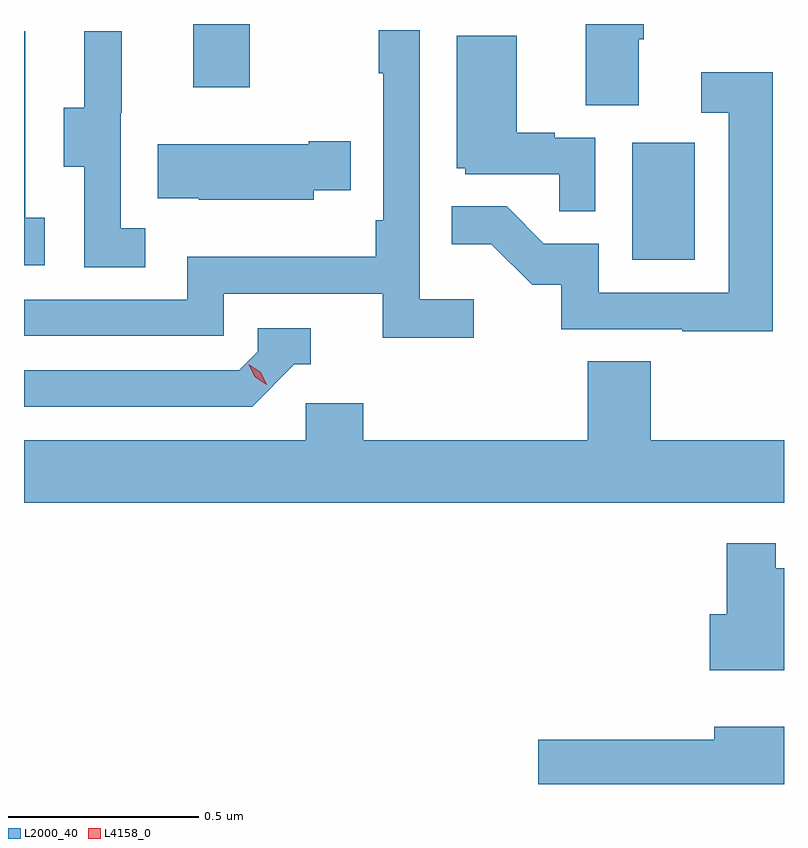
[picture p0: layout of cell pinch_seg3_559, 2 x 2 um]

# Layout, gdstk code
import gdstk
lib = gdstk.Library(unit=1e-6, precision=1e-09)
def R(c, l, rs):  # rectangles x0, y0, x1, y1
    for r in rs: c.add(gdstk.rectangle(r[:2], r[2:], *l))
def P(c, l, *ps):  # polygons
    for p in ps: c.add(gdstk.Polygon(p, *l))
L2000_40 = (2000, 40)
L4158_0 = (4158, 0)

pinch_seg3_559 = lib.new_cell('pinch_seg3_559')
R(pinch_seg3_559, L2000_40, [(1086.884,701.556,1087.048,701.863), (1085.729,702.009,1085.877,702.176)])
P(pinch_seg3_559, L2000_40, [(1086.901,702.136),(1086.914,702.136),(1086.914,702.176),(1086.761,702.176),(1086.761,701.962),(1086.901,701.962)],
  [(1086.466,701.452),(1086.324,701.452),(1086.324,702.16),(1086.216,702.16),(1086.216,702.047),(1086.228,702.047),(1086.228,701.659),(1086.208,701.659),(1086.208,701.563),(1085.712,701.563),(1085.712,701.451),(1085.283,701.451),(1085.283,701.355),(1085.808,701.355),(1085.808,701.466),(1086.227,701.466),(1086.227,701.35),(1086.466,701.35)],
  [(1085.602,701.639),(1085.538,701.639),(1085.538,701.943),(1085.54,701.943),(1085.54,702.157),(1085.441,702.157),(1085.441,701.955),(1085.387,701.955),(1085.387,701.8),(1085.442,701.8),(1085.442,701.536),(1085.602,701.536)],
  [(1085.338,701.666),(1085.286,701.666),(1085.286,702.157),(1085.283,702.157),(1085.283,701.541),(1085.338,701.541)],
  [(1086.786,701.877),(1086.68,701.877),(1086.68,701.89),(1086.58,701.89),(1086.58,702.145),(1086.422,702.145),(1086.422,701.796),(1086.444,701.796),(1086.444,701.781),(1086.691,701.781),(1086.691,701.683),(1086.786,701.683)],
  [(1087.253,702.049),(1087.065,702.049),(1087.065,701.943),(1087.137,701.943),(1087.137,701.469),(1086.795,701.469),(1086.795,701.598),(1086.651,701.598),(1086.553,701.696),(1086.409,701.696),(1086.409,701.597),(1086.513,701.597),(1086.62,701.49),(1086.697,701.49),(1086.697,701.373),(1087.015,701.373),(1087.015,701.368),(1087.253,701.368)],
  [(1086.045,701.738),(1086.143,701.738),(1086.143,701.868),(1086.032,701.868),(1086.032,701.86),(1085.635,701.86),(1085.635,701.717),(1085.743,701.717),(1085.743,701.714),(1086.045,701.714)],
  [(1085.994,701.28),(1086.037,701.28),(1086.037,701.376),(1085.898,701.376),(1085.898,701.313),(1085.85,701.265),(1085.283,701.265),(1085.283,701.169),(1085.883,701.169)],
  [(1087.283,701.08),(1086.932,701.08),(1086.932,701.288),(1086.767,701.288),(1086.767,701.08),(1086.176,701.08),(1086.176,701.178),(1086.024,701.178),(1086.024,701.08),(1085.283,701.08),(1085.283,700.916),(1087.283,700.916)],
  [(1087.283,700.744),(1087.261,700.744),(1087.261,700.81),(1087.132,700.81),(1087.132,700.623),(1087.088,700.623),(1087.088,700.475),(1087.283,700.475)],
  [(1087.283,700.327),(1087.1,700.327),(1087.1,700.292),(1086.636,700.292),(1086.636,700.176),(1087.283,700.176)])
P(pinch_seg3_559, L4158_0, [(1085.922,701.227),(1085.891,701.247),(1085.875,701.279),(1085.875,701.28),(1085.875,701.28),(1085.906,701.26),(1085.922,701.228),(1085.922,701.227)])

lib.write_gds('pinch_seg3_559.gds')
